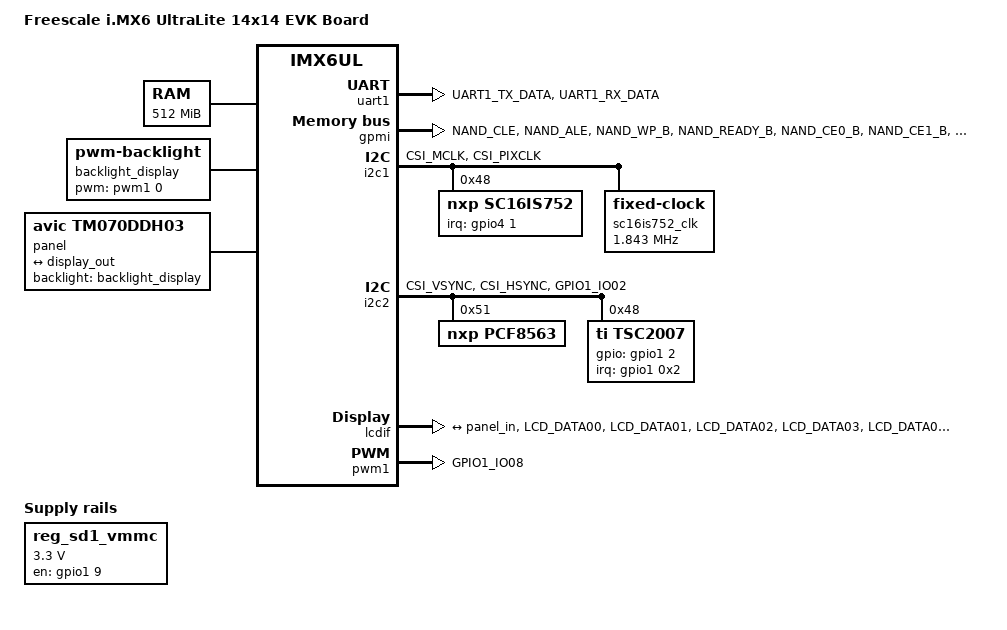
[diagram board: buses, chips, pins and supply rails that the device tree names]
/*
 * Copyright (C) 2015 Freescale Semiconductor, Inc.
 *
 * This program is free software; you can redistribute it and/or modify
 * it under the terms of the GNU General Public License version 2 as
 * published by the Free Software Foundation.
 */

/dts-v1/;

#include "imx6ul.dtsi"

/ {
	model = "Freescale i.MX6 UltraLite 14x14 EVK Board";
	compatible = "fsl,imx6ul-14x14-evk", "fsl,imx6ul";

	chosen {
		stdout-path = &uart1;
	};

	memory {
		reg = <0x80000000 0x20000000>;
	};
	
	backlight_display: backlight-display {
		compatible = "pwm-backlight";
		pwms = <&pwm1 0 5000000>;
		brightness-levels = <0 4 8 16 32 64 128 255>;
		default-brightness-level = <6>;
		status = "okay";
	};

	regulators {
		compatible = "simple-bus";
		#address-cells = <1>;
		#size-cells = <0>;

		reg_sd1_vmmc: sd1_regulator {
			compatible = "regulator-fixed";
			regulator-name = "VSD_3V3";
			regulator-min-microvolt = <3300000>;
			regulator-max-microvolt = <3300000>;
			gpio = <&gpio1 9 GPIO_ACTIVE_HIGH>;
			enable-active-high;
		};
	};

	panel:	panel {
		compatible = "avic,tm070ddh03","simple-panel";
		backlight = <&backlight_display>;

		status = "okay";
		port {
			panel_in: endpoint {
				remote-endpoint = <&display_out>;
			};
		};
	};

};

&clks {
	assigned-clocks = <&clks IMX6UL_CLK_PLL4_AUDIO_DIV>;
	assigned-clock-rates = <786432000>;
};

&uart1 {
	pinctrl-names = "default";
	pinctrl-0 = <&pinctrl_uart1>;
	status = "okay";
};

&wdog1 {
	pinctrl-names = "default";
	pinctrl-0 = <&pinctrl_wdog>;
	fsl,ext-reset-output;
};

&gpmi {
	pinctrl-names = "default";
	pinctrl-0 = <&pinctrl_gpmi_nand>;
	status = "okay";
	nand-on-flash-bbt;
	// fsl,no-blockmark-swap;
	fsl,use-minimum-ecc;
};

&i2c1 {
	clock_frequency = <100000>;//ckk
	pinctrl-names = "default";
	pinctrl-0 = <&pinctrl_i2c1>;
	status = "okay";


	sc16is752@48 {
		compatible = "nxp,sc16is752";
		reg = <0x48>;
		clocks = <&sc16is752_clk>;
		interrupt-parent = <&gpio4>;
		interrupts = <1 2>;
		// gpio-controller;
		// #gpio-cells = <2>;
	};
	
	// sc16is752@49 {
	// 	compatible = "nxp,sc16is752";
	// 	reg = <0x49>;
	// 	clocks = <&sc16is752_clk>;
	// 	interrupt-parent = <&gpio4>;
	// 	interrupts = <1 2>;
	// 	// gpio-controller;
	// 	// #gpio-cells = <2>;
	// };


	sc16is752_clk: sc16is752_clk {
		compatible = "fixed-clock";
		#clock-cells = <0>;
		clock-frequency = <1843200>;
	};
};

&i2c2 {
	clock_frequency = <100000>;//ckk
	pinctrl-names = "default";
	pinctrl-0 = <&pinctrl_i2c2>;
	status = "okay";

	pcf8563@51 {
		compatible = "nxp,pcf8563";
		reg = <0x51>;
	};

	tsc2007@48 {
		compatible = "ti,tsc2007";
		reg = <0x48>;
		interrupt-parent = <&gpio1>;
		interrupts = <0x2 0x8>;
		gpios = <&gpio1 2 0>;
		ti,x-plate-ohms = <660>;
	};

};

&lcdif {
	assigned-clocks = <&clks IMX6UL_CLK_LCDIF_PRE_SEL>;
	assigned-clock-parents = <&clks IMX6UL_CLK_PLL5_VIDEO_DIV>;
	pinctrl-names = "default";
	pinctrl-0 = <&pinctrl_lcdif_dat
		     &pinctrl_lcdif_ctrl>;
	status = "okay";

	port {
		display_out: endpoint {
			remote-endpoint = <&panel_in>;
		};
	};
};

&pwm1 {
	pinctrl-names = "default";
	pinctrl-0 = <&pinctrl_pwm1>;
	status = "okay";
};

&iomuxc {
	pinctrl-names = "default";
	pinctrl_gpmi_nand: gpmi-nand {
		fsl,pins = <
			MX6UL_PAD_NAND_CLE__RAWNAND_CLE         0xb0b1
			MX6UL_PAD_NAND_ALE__RAWNAND_ALE         0xb0b1
			MX6UL_PAD_NAND_WP_B__RAWNAND_WP_B       0xb0b1
			MX6UL_PAD_NAND_READY_B__RAWNAND_READY_B 	0xb000
			MX6UL_PAD_NAND_CE0_B__RAWNAND_CE0_B   	0xb0b1
			MX6UL_PAD_NAND_CE1_B__RAWNAND_CE1_B    0xb0b1
			MX6UL_PAD_NAND_RE_B__RAWNAND_RE_B     0xb0b1
			MX6UL_PAD_NAND_WE_B__RAWNAND_WE_B     0xb0b1
			MX6UL_PAD_NAND_DATA00__RAWNAND_DATA00   0xb0b1
			MX6UL_PAD_NAND_DATA01__RAWNAND_DATA01   0xb0b1
			MX6UL_PAD_NAND_DATA02__RAWNAND_DATA02   0xb0b1
			MX6UL_PAD_NAND_DATA03__RAWNAND_DATA03   0xb0b1
			MX6UL_PAD_NAND_DATA04__RAWNAND_DATA04   0xb0b1
			MX6UL_PAD_NAND_DATA05__RAWNAND_DATA05   0xb0b1
			MX6UL_PAD_NAND_DATA06__RAWNAND_DATA06   0xb0b1
			MX6UL_PAD_NAND_DATA07__RAWNAND_DATA07   0xb0b1
		>;
	};
	pinctrl_lcdif_dat: lcdifdatgrp {
		fsl,pins = <
			MX6UL_PAD_LCD_DATA00__LCDIF_DATA00  0x79
			MX6UL_PAD_LCD_DATA01__LCDIF_DATA01  0x79
			MX6UL_PAD_LCD_DATA02__LCDIF_DATA02  0x79
			MX6UL_PAD_LCD_DATA03__LCDIF_DATA03  0x79
			MX6UL_PAD_LCD_DATA04__LCDIF_DATA04  0x79
			MX6UL_PAD_LCD_DATA05__LCDIF_DATA05  0x79
			MX6UL_PAD_LCD_DATA06__LCDIF_DATA06  0x79
			MX6UL_PAD_LCD_DATA07__LCDIF_DATA07  0x79
			MX6UL_PAD_LCD_DATA08__LCDIF_DATA08  0x79
			MX6UL_PAD_LCD_DATA09__LCDIF_DATA09  0x79
			MX6UL_PAD_LCD_DATA10__LCDIF_DATA10  0x79
			MX6UL_PAD_LCD_DATA11__LCDIF_DATA11  0x79
			MX6UL_PAD_LCD_DATA12__LCDIF_DATA12  0x79
			MX6UL_PAD_LCD_DATA13__LCDIF_DATA13  0x79
			MX6UL_PAD_LCD_DATA14__LCDIF_DATA14  0x79
			MX6UL_PAD_LCD_DATA15__LCDIF_DATA15  0x79
			MX6UL_PAD_LCD_DATA16__LCDIF_DATA16  0x79
			MX6UL_PAD_LCD_DATA17__LCDIF_DATA17  0x79
			MX6UL_PAD_LCD_DATA18__LCDIF_DATA18  0x79
			MX6UL_PAD_LCD_DATA19__LCDIF_DATA19  0x79
			MX6UL_PAD_LCD_DATA20__LCDIF_DATA20  0x79
			MX6UL_PAD_LCD_DATA21__LCDIF_DATA21  0x79
			MX6UL_PAD_LCD_DATA22__LCDIF_DATA22  0x79
			MX6UL_PAD_LCD_DATA23__LCDIF_DATA23  0x79
		>;
	};

	pinctrl_lcdif_ctrl: lcdifctrlgrp {
		fsl,pins = <
			MX6UL_PAD_LCD_CLK__LCDIF_CLK	    0x79
			MX6UL_PAD_LCD_ENABLE__LCDIF_ENABLE  0x79
			MX6UL_PAD_LCD_HSYNC__LCDIF_HSYNC    0x79
			MX6UL_PAD_LCD_VSYNC__LCDIF_VSYNC    0x79
			/* used for lcd reset */
			MX6UL_PAD_SNVS_TAMPER9__GPIO5_IO09  0x79
		>;
	};

	pinctrl_pwm1: pwm1grp {
		fsl,pins = <
			MX6UL_PAD_GPIO1_IO08__PWM1_OUT   0x110b0
		>;
	};

	pinctrl_uart1: uart1grp {
		fsl,pins = <
			MX6UL_PAD_UART1_TX_DATA__UART1_DCE_TX 0x1b0b1
			MX6UL_PAD_UART1_RX_DATA__UART1_DCE_RX 0x1b0b1
			
		>;
	};

	pinctrl_sc16is752: sc16is752grp {
		fsl,pins = <
			MX6UL_PAD_CSI_DATA00__GPIO4_IO21	0xb0 /* SPI2_CLK 20	*/
			MX6UL_PAD_CSI_DATA01__GPIO4_IO22	0xb0 /* SPI2_NSS 17	*/ 
			MX6UL_PAD_CSI_DATA02__GPIO4_IO23	0xb0 /* SPI2_MOSI 18 */
			MX6UL_PAD_CSI_DATA03__GPIO4_IO24	0xb0 /* SPI2_MISO 19  */
		>;
	};

	pinctrl_i2c1: i2c1grp {
		fsl,pins = <
			MX6UL_PAD_CSI_MCLK__I2C1_SDA    0x4001b8b0
			MX6UL_PAD_CSI_PIXCLK__I2C1_SCL    0x4001b8b0
		>;
	};
	 
	pinctrl_i2c2: i2c2grp {
		fsl,pins = <
			MX6UL_PAD_CSI_VSYNC__I2C2_SDA    0x4001b8b0
			MX6UL_PAD_CSI_HSYNC__I2C2_SCL    0x4001b8b0
			MX6UL_PAD_GPIO1_IO02__GPIO1_IO02	0xb0 /* Interrupt */
			>;
		};
	
	// pinctrl_tsc2007: tsc2007grp {
	// 	fsl,pins = <
	// 		MX6UL_PAD_GPIO1_IO02__GPIO1_IO02	0x1b0b0 /* Interrupt */
	// 	>;
	// };

	pinctrl_wdog: wdoggrp {
		fsl,pins = <
			MX6UL_PAD_LCD_RESET__WDOG1_WDOG_ANY    0x30b0
		>;
	};
};
